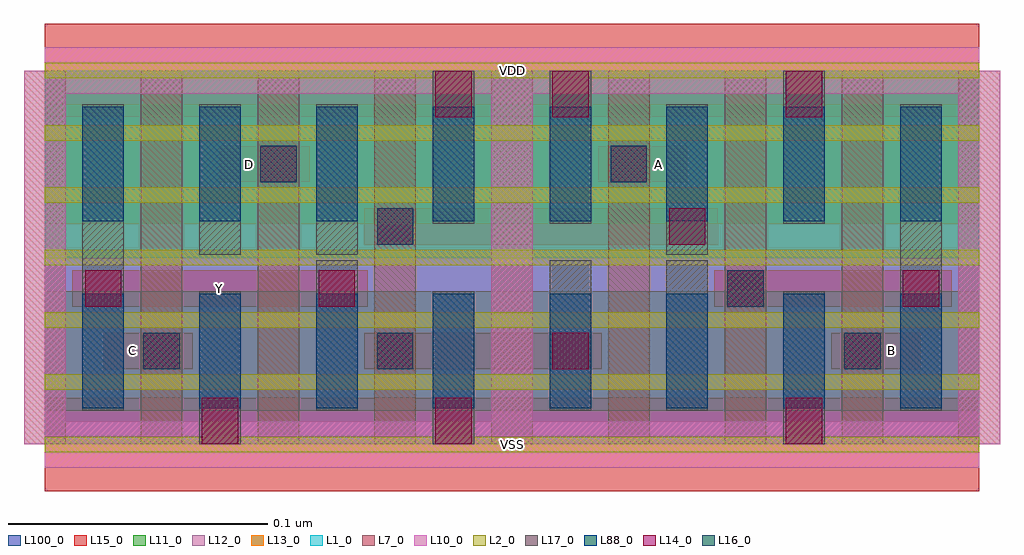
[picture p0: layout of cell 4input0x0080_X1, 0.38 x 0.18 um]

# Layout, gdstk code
import gdstk
lib = gdstk.Library(unit=1e-6, precision=2.5e-10)
def R(c, l, rs):  # rectangles x0, y0, x1, y1
    for r in rs: c.add(gdstk.rectangle(r[:2], r[2:], *l))
def A(c, l, x, y, w, h, nx, ny, dx, dy):  # array of equal rectangles
    R(c, l, [(x+i*dx, y+j*dy, x+i*dx+w, y+j*dy+h) for i in range(nx) for j in range(ny)])
def P(c, l, *ps):  # polygons
    for p in ps: c.add(gdstk.Polygon(p, *l))
L1_0 = (1, 0)
L2_0 = (2, 0)
L7_0 = (7, 0)
L10_0 = (10, 0)
L11_0 = (11, 0)
L12_0 = (12, 0)
L13_0 = (13, 0)
L14_0 = (14, 0)
L15_0 = (15, 0)
L16_0 = (16, 0)
L17_0 = (17, 0)
L88_0 = (88, 0)
L100_0 = (100, 0)

c_4input0x0080_x1 = lib.new_cell('4input0x0080_X1')
R(c_4input0x0080_x1, L1_0, [(0,0.072,0.36,0.144)])
A(c_4input0x0080_x1, L2_0, 0, -0.003, 0.36, 0.006, 1, 7, 0, 0.024)
A(c_4input0x0080_x1, L7_0, -0.008, 0, 0.016, 0.144, 9, 1, 0.045, 0)
P(c_4input0x0080_x1, L10_0, [(0,-0.009),(0,0),(-0.008,0),(-0.008,0.135),(0.008,0.135),(0.008,0.009),(0.172,0.009),(0.172,0.135),(0.188,0.135),(0.188,0.009),(0.352,0.009),(0.352,0.135),(-0.008,0.135),(-0.008,0.144),(0,0.144),(0,0.153),(0.36,0.153),(0.36,0.144),(0.368,0.144),(0.368,0),(0.36,0),(0.36,-0.009)])
R(c_4input0x0080_x1, L11_0, [(0,0.013,0.36,0.059), (0,0.085,0.36,0.131)])
R(c_4input0x0080_x1, L12_0, [(0,0,0.36,0.072)])
R(c_4input0x0080_x1, L13_0, [(0,0.072,0.36,0.144)])
R(c_4input0x0080_x1, L14_0, [(0.0605,0,0.0745,0.018), (0.1505,0,0.1645,0.018), (0.2855,0,0.2995,0.018), (0.038,0.029,0.052,0.043), (0.128,0.029,0.142,0.043), (0.1955,0.029,0.2095,0.043), (0.308,0.029,0.322,0.043), (0.0155,0.053,0.0295,0.067), (0.1055,0.053,0.1195,0.067), (0.263,0.053,0.277,0.067), (0.3305,0.053,0.3445,0.067), (0.128,0.077,0.142,0.091), (0.2405,0.077,0.2545,0.091), (0.083,0.101,0.097,0.115), (0.218,0.101,0.232,0.115), (0.1505,0.126,0.1645,0.144), (0.1955,0.126,0.2095,0.144), (0.2855,0.126,0.2995,0.144)])
R(c_4input0x0080_x1, L15_0, [(0,-0.018,0.36,0.018), (0.0225,0.029,0.057,0.043), (0.123,0.029,0.2145,0.043), (0.303,0.029,0.3375,0.043), (0.0105,0.053,0.1245,0.067), (0.258,0.053,0.3495,0.067), (0.123,0.077,0.2595,0.091), (0.0675,0.101,0.102,0.115), (0.213,0.101,0.2475,0.115), (0,0.126,0.36,0.162)])
R(c_4input0x0080_x1, L16_0, [(0.038,0.029,0.052,0.043), (0.128,0.029,0.142,0.043), (0.308,0.029,0.322,0.043), (0.263,0.053,0.277,0.067), (0.128,0.077,0.142,0.091), (0.083,0.101,0.097,0.115), (0.218,0.101,0.232,0.115)])
R(c_4input0x0080_x1, L17_0, [(0.0595,0,0.0755,0.059), (0.1495,0,0.1655,0.059), (0.2845,0,0.3005,0.059), (0.0145,0.013,0.0305,0.131), (0.1045,0.013,0.1205,0.071), (0.1945,0.013,0.2105,0.071), (0.2395,0.013,0.2555,0.071), (0.3295,0.013,0.3455,0.131), (0.0595,0.073,0.0755,0.131), (0.1045,0.073,0.1205,0.131), (0.2395,0.073,0.2555,0.131), (0.1495,0.085,0.1655,0.144), (0.1945,0.085,0.2105,0.144), (0.2845,0.085,0.3005,0.144)])
A(c_4input0x0080_x1, L88_0, 0.0145, 0.014, 0.016, 0.044, 8, 2, 0.045, 0.072)
R(c_4input0x0080_x1, L100_0, [(0,0,0.36,0.144)])
c_4input0x0080_x1.add(gdstk.Label('Y', (0.0675,0.06), layer=15, texttype=251))
c_4input0x0080_x1.add(gdstk.Label('VSS', (0.18,0), layer=15, texttype=251))
c_4input0x0080_x1.add(gdstk.Label('VDD', (0.18,0.144), layer=15, texttype=251))
c_4input0x0080_x1.add(gdstk.Label('C', (0.0338,0.036), layer=15, texttype=251))
c_4input0x0080_x1.add(gdstk.Label('VSS', (0.18,0), layer=15, texttype=251))
c_4input0x0080_x1.add(gdstk.Label('VDD', (0.18,0.144), layer=15, texttype=251))
c_4input0x0080_x1.add(gdstk.Label('A', (0.2363,0.108), layer=15, texttype=251))
c_4input0x0080_x1.add(gdstk.Label('VSS', (0.18,0), layer=15, texttype=251))
c_4input0x0080_x1.add(gdstk.Label('VDD', (0.18,0.144), layer=15, texttype=251))
c_4input0x0080_x1.add(gdstk.Label('B', (0.3262,0.036), layer=15, texttype=251))
c_4input0x0080_x1.add(gdstk.Label('VSS', (0.18,0), layer=15, texttype=251))
c_4input0x0080_x1.add(gdstk.Label('VDD', (0.18,0.144), layer=15, texttype=251))
c_4input0x0080_x1.add(gdstk.Label('D', (0.0788,0.108), layer=15, texttype=251))
c_4input0x0080_x1.add(gdstk.Label('VSS', (0.18,0), layer=15, texttype=251))
c_4input0x0080_x1.add(gdstk.Label('VDD', (0.18,0.144), layer=15, texttype=251))
c_4input0x0080_x1.add(gdstk.Label('VSS', (0.18,0), layer=3, texttype=251))
c_4input0x0080_x1.add(gdstk.Label('VSS', (0.18,0), layer=3, texttype=251))
c_4input0x0080_x1.add(gdstk.Label('VSS', (0.18,0), layer=3, texttype=251))
c_4input0x0080_x1.add(gdstk.Label('VSS', (0.18,0), layer=3, texttype=251))
c_4input0x0080_x1.add(gdstk.Label('VSS', (0.18,0), layer=3, texttype=251))
c_4input0x0080_x1.add(gdstk.Label('VDD', (0.18,0.144), layer=1, texttype=251))
c_4input0x0080_x1.add(gdstk.Label('VDD', (0.18,0.144), layer=1, texttype=251))
c_4input0x0080_x1.add(gdstk.Label('VDD', (0.18,0.144), layer=1, texttype=251))
c_4input0x0080_x1.add(gdstk.Label('VDD', (0.18,0.144), layer=1, texttype=251))
c_4input0x0080_x1.add(gdstk.Label('VDD', (0.18,0.144), layer=1, texttype=251))

lib.write_gds('4input0x0080_X1.gds')
